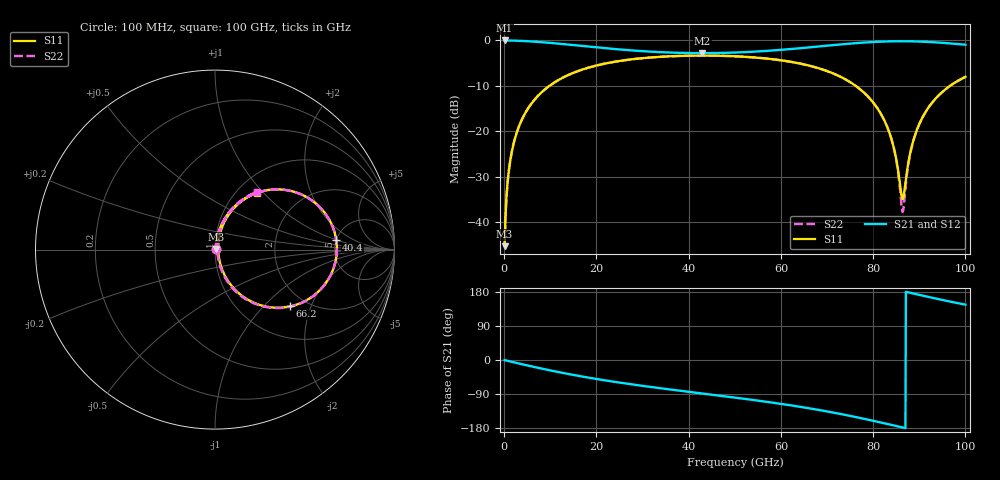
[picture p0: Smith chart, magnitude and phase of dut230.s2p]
! Touchstone file exported from HFSS 2026.1.0
!  File:  C:/ffzhzh/LocalFiles/Ansys_Project_Files/temp_train_RDL_230_1783501164_44152.aedt
!  Generated:  05:00:51 PM Jul  8, 2026
!  Design:  RDL
!  Project:  temp_train_RDL_230_1783501164_44152
! Variables:
!  h_bsmrdl = 2um
!  h_ox = 20um
!  h_rdl = 5um
!  h_sub = 80um
!  h_tmrdl = 4.4um
!  h_tsv = 80um
!  h_via = 3um
!  l_bsmrdl = 300um
!  l_sub = 1097.57um
!  l_tmrdl = 697.57um
!  m_sub = 200um
!  pitch = 52.49um
!  r_tsv = 6um
!  s_tmrdl = 10um
!  w_bsmrdl = 18um
!  w_sub = 500um
!  w_tmrdl = 14.42um
!  x_tsv_center1 = 704.78um
!  x_tsv_center2 = 1022.78um
!  x_tsv_center3 = 1734.77um
!  x_tsv_center4 = 2052.77um
!  x_tsv_center5 = 2764.76um
!  x_tsv_center6 = 3082.76um
# GHz S MA R 50.000000
! Terminal data exported
! Port[1] = TM_RDL1_1_T1
! Port[2] = TM_RDL1_1_T2
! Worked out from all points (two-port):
!   1000 points, 100 MHz to 100 GHz, reference 50 ohm
!   highest |S21| = -0.03 dB at 100 MHz (marker M1); lowest = -2.8 dB at 43 GHz (marker M2)
!   |S21| within 3 dB of the highest: start of sweep to end of sweep
!   lowest |S11| = -45.3 dB at 100 MHz (marker M3), VSWR 1.01, Z = 50.4 + j0.372 ohm
!   |S11| at or under -10 dB: start of sweep to 9.861 GHz; 76.18 GHz to 96.7 GHz (20.53 GHz wide, 23.7 % of centre)
!   |S22| runs from -45.3 to -3.4 dB; largest |S21 - S12| = 1.7e-14
!   S11 on the Smith chart (normalised r, x): 100 MHz: 1.01, +0.01; 40.4 GHz: 4.98, +1.04; 66.2 GHz: 1.66, -1.45; 100 GHz: 1.23, +0.93
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0.1  0.005425 42.9  0.996 -0.3  0.996 -0.3  0.005425 42.9
! Gamma 0 0 0 0
! Port Impedance 50 0 50 0
0.8  0.02909 78.6  0.995 -2.3  0.995 -2.3  0.02909 78.6
1.4  0.05009 80.3  0.9939 -4.1  0.9939 -4.1  0.05009 80.3
2.5  0.08839 79.1  0.9905 -7.3  0.9905 -7.3  0.08839 79.1
4  0.1393 75.7  0.9835 -11.5  0.9835 -11.5  0.1393 75.7
9  0.2927 63.0  0.9458 -25.0  0.9458 -25.0  0.2927 63.0
16.8  0.4737 45.1  0.8679 -43.4  0.8679 -43.4  0.4737 45.1
33.4  0.6561 15.3  0.7425 -73.8  0.7425 -73.8  0.6561 15.3
40.4  0.6775 4.8  0.7238 -84.6  0.7238 -84.6  0.6775 4.7
43  0.6792 0.9  0.7223 -88.5  0.7223 -88.5  0.6792 0.8
50.1  0.667 -9.7  0.7333 -99.3  0.7333 -99.3  0.6671 -9.8
66.2  0.5251 -37.0  0.8363 -127.6  0.8363 -127.6  0.5252 -37.3
66.7  0.5173 -38.0  0.841 -128.6  0.841 -128.6  0.5173 -38.3
77.4  0.2829 -60.9  0.9398 -153.5  0.9398 -153.5  0.2828 -61.7
80.9  0.1794 -68.0  0.9629 -162.8  0.9629 -162.8  0.1792 -69.4
83.4  0.1003 -70.3  0.973 -169.7  0.973 -169.7  0.09975 -72.9
84.8  0.05568 -65.6  0.976 -173.6  0.976 -173.6  0.05447 -70.5
86.4  0.01789 2.2  0.9768 -178.1  0.9768 -178.1  0.01289 1.9
88.3  0.06562 70.1  0.9743 176.6  0.9743 176.6  0.06424 74.5
90.5  0.1356 72.4  0.9667 170.5  0.9667 170.5  0.1348 74.6
94.4  0.2533 65.6  0.9429 160.0  0.9429 160.0  0.2528 66.8
100  0.396 53.3  0.8937 146.1  0.8937 146.1  0.3957 54.2
